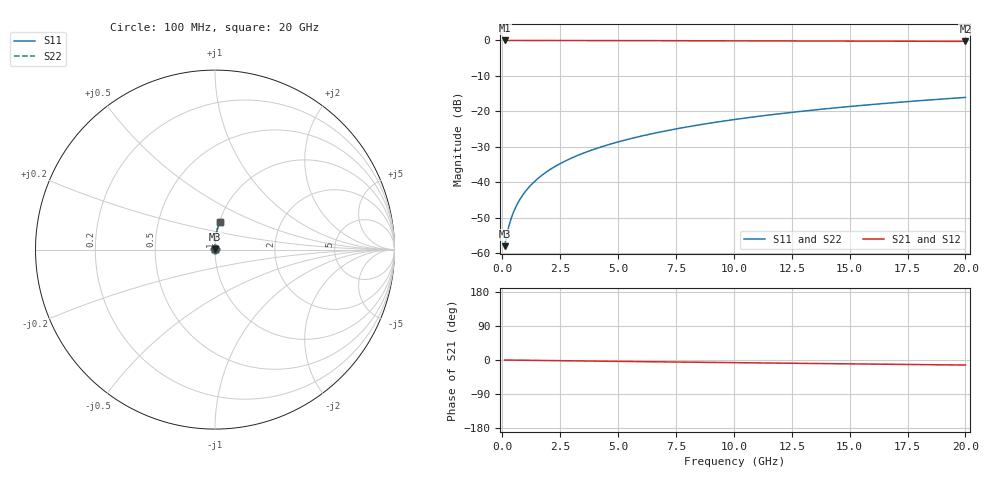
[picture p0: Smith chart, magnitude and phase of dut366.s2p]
! Touchstone file exported from HFSS 2024.1.0
!  File:  C:/UserFiles/LocalFiles/RDL_TSV_Batchsim/temp_RDL_top_366_1779608736.aedt
!  Generated:  03:48:04 PM May 24, 2026
!  Design:  RDL_top
!  Project:  temp_RDL_top_366_1779608736
!  Setup:  Setup1
!  Solution:  Sweep
! Variables:
!  dtsv = 10.80580581um
!  hbump = 3um
!  htsv = 75.45um
!  ldown = 100um
!  lrdl = 154.47um
!  p = 40
!  p1 = 46.04um
!  rhole = 1um
!  t = 450um
!  tdown = 3.915915916um
!  trdl = 3.8um
!  wdown = 15.38538539um
!  wrdl = 18.21um
# GHz S MA R 50.000000
! Terminal data exported
! Port[1] = Box2_T1
! Port[2] = Box2_T2
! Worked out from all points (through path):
!   200 points, 100 MHz to 20 GHz, reference 50 ohm
!   highest |S21| = -0.01 dB at 100 MHz (marker M1); lowest = -0.3 dB at 20 GHz (marker M2)
!   group delay of S21, straight-line fit = 1.83 ps
!   lowest |S11| = -58.1 dB at 100 MHz (marker M3), VSWR 1.00, Z = 50.1 + j0.0778 ohm
!   |S11| at or under -10 dB: start of sweep to end of sweep
!   |S22| runs from -58.1 to -16.1 dB; largest |S21 - S12| = 3e-15
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0.1  0.001247 38.5  0.999 -0.1  0.999 -0.1  0.001247 38.5
! Gamma 0 0 0 0
! Port Impedance 50 0 50 0
0.2  0.001837 56.7  0.999 -0.2  0.999 -0.2  0.001837 56.7
0.3  0.002502 65.3  0.9989 -0.2  0.9989 -0.2  0.002502 65.3
0.4  0.003186 70.3  0.9989 -0.3  0.9989 -0.3  0.003186 70.3
0.5  0.003877 73.5  0.9988 -0.4  0.9988 -0.4  0.003877 73.5
0.6  0.004574 75.9  0.9988 -0.5  0.9988 -0.5  0.004574 75.9
0.8  0.005978 79.0  0.9987 -0.6  0.9987 -0.6  0.005978 79.0
1.1  0.008108 81.8  0.9986 -0.8  0.9986 -0.8  0.008108 81.8
1.5  0.01098 83.9  0.9984 -1.1  0.9984 -1.1  0.01098 83.9
1.8  0.01314 84.9  0.9982 -1.3  0.9982 -1.3  0.01314 84.9
2.1  0.01532 85.6  0.998 -1.6  0.998 -1.6  0.01532 85.6
2.7  0.01971 86.5  0.9975 -2.0  0.9975 -2.0  0.01971 86.5
3.5  0.02563 87.2  0.9967 -2.6  0.9967 -2.6  0.02562 87.2
4.2  0.03086 87.6  0.9958 -3.1  0.9958 -3.1  0.03086 87.6
5  0.03692 87.7  0.9948 -3.6  0.9948 -3.6  0.03692 87.7
5.9  0.04383 87.8  0.9935 -4.3  0.9935 -4.3  0.04383 87.8
6.8  0.05084 87.6  0.9921 -4.9  0.9921 -4.9  0.05084 87.6
8.3  0.06268 87.2  0.9897 -5.9  0.9897 -5.9  0.06268 87.2
10.1  0.0771 86.4  0.9867 -7.1  0.9867 -7.1  0.0771 86.4
13.4  0.1038 84.4  0.9813 -9.2  0.9813 -9.2  0.1038 84.4
16.7  0.1305 82.2  0.9759 -11.3  0.9759 -11.3  0.1305 82.2
20  0.1568 80.0  0.9703 -13.3  0.9703 -13.3  0.1568 80.0
